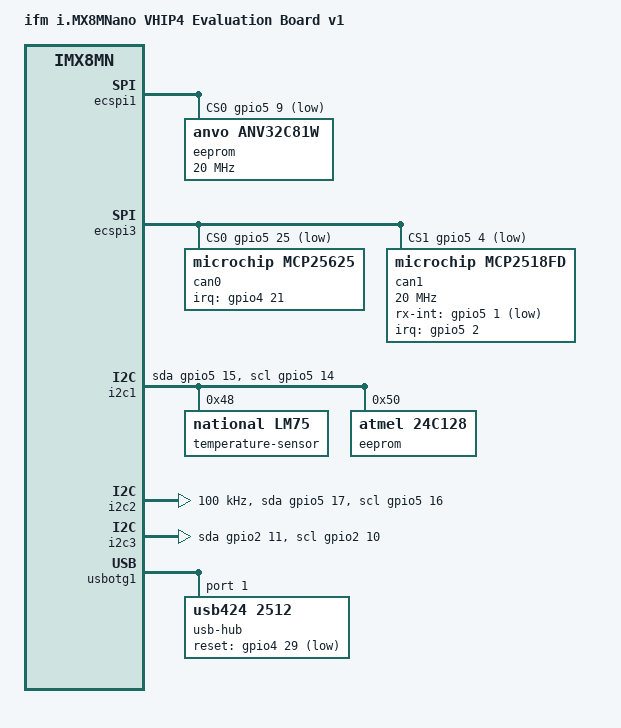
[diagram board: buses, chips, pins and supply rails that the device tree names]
// SPDX-License-Identifier: (GPL-2.0+ OR MIT)
/*
 * Copyright 2020-2024 Fedor Ross <fedor.ross@ifm.com>
 */

/dts-v1/;

#include "imx8mn-vhip4-evalboard-common.dtsi"

/ {
	model = "ifm i.MX8MNano VHIP4 Evaluation Board v1";
	compatible = "ifm,imx8mn-vhip4-evalboard-v1", "ifm,imx8mn-vhip4-evalboard",
		     "ifm,imx8mn-vhip4", "fsl,imx8mn";
};

&ifm_led {
	pinctrl-1 = <&pinctrl_gpio_led_v1>;

	led-2 {
		function = LED_FUNCTION_STATUS;
		function-enumerator = <3>;
		color = <LED_COLOR_ID_YELLOW>;
		gpios = <&gpio2 17 GPIO_ACTIVE_HIGH>;
		default-state = "keep";
	};

	led-3 {
		function = LED_FUNCTION_STATUS;
		function-enumerator = <4>;
		color = <LED_COLOR_ID_GREEN>;
		gpios = <&gpio2 19 GPIO_ACTIVE_HIGH>;
		default-state = "keep";
	};
};

&ecspi1 {
	cs-gpios = <&gpio5 9 GPIO_ACTIVE_LOW>, <&gpio5 21 GPIO_ACTIVE_LOW>;
	status = "okay";

	eeprom@0 {
		compatible = "anvo,anv32c81w", "atmel,at25";
		reg = <0>;
		spi-max-frequency = <20000000>;
		spi-cpha;
		spi-cpol;
		pagesize = <1>;
		size = <32768>;
		address-width = <16>;
	};
};

&ecspi3 {
	cs-gpios = <&gpio5 25 GPIO_ACTIVE_LOW>, <&gpio5 4 GPIO_ACTIVE_LOW>;
	status = "okay";

	can0: can@0 {
		compatible = "microchip,mcp25625";
		pinctrl-names = "default";
		pinctrl-0 = <&pinctrl_mcp25625>;
		reg = <0>;
		clocks = <&can_clk20m>;
		interrupt-parent = <&gpio4>;
		interrupts = <21 IRQ_TYPE_LEVEL_LOW>;
		gpio-controller;
		#gpio-cells = <2>;
	};

	can1: can@1 {
		compatible = "microchip,mcp2518fd";
		pinctrl-names = "default";
		pinctrl-0 = <&pinctrl_mcp2518>;
		reg = <1>;
		clocks = <&can_clk40m>;
		interrupt-parent = <&gpio5>;
		interrupts = <2 IRQ_TYPE_LEVEL_LOW>;
		microchip,rx-int-gpios = <&gpio5 1 GPIO_ACTIVE_LOW>;
		spi-max-frequency = <20000000>;
	};
};

&i2c1 {
	scl-gpios = <&gpio5 14 (GPIO_ACTIVE_HIGH | GPIO_OPEN_DRAIN)>;
	sda-gpios = <&gpio5 15 GPIO_ACTIVE_HIGH>;
	status = "okay";

	temperature-sensor@48 {
		compatible = "national,lm75";
		reg = <0x48>;
	};

	eeprom@50 {
		compatible = "atmel,24c128";
		reg = <0x50>;
	};
};

&i2c2 {
	clock-frequency = <100000>;
	pinctrl-names = "default", "gpio";
	pinctrl-0 = <&pinctrl_i2c2>;
	pinctrl-1 = <&pinctrl_i2c2_gpio>;
	scl-gpios = <&gpio5 16 (GPIO_ACTIVE_HIGH | GPIO_OPEN_DRAIN)>;
	sda-gpios = <&gpio5 17 GPIO_ACTIVE_HIGH>;
	status = "okay";
};

&i2c3 {
	scl-gpios = <&gpio2 10 (GPIO_ACTIVE_HIGH | GPIO_OPEN_DRAIN)>;
	sda-gpios = <&gpio2 11 GPIO_ACTIVE_HIGH>;
	status = "okay";
};

&ifm_pmic {
	interrupt-parent = <&gpio2>;
	interrupts = <0 GPIO_ACTIVE_LOW>;
};

&iomuxc {
	pinctrl_ecspi1_cs: ecspi1-cs-grp {
		fsl,pins = <
			/* KS8794 nCS */
			MX8MN_IOMUXC_I2C4_SDA_GPIO5_IO21		0x150
			/* ANV32C81 nCS */
			MX8MN_IOMUXC_ECSPI1_SS0_GPIO5_IO9		0x150
		>;
	};

	pinctrl_ecspi3_cs: ecspi3-cs-grp {
		fsl,pins = <
			/* MCP25625 nCS */
			MX8MN_IOMUXC_UART2_TXD_GPIO5_IO25		0x150
			/* MCP2518FD nCS */
			MX8MN_IOMUXC_SPDIF_RX_GPIO5_IO4			0x150
		>;
	};

	pinctrl_gpio_5: gpio5-grp {
		fsl,pins = <
			/* CFG_EEPROM_WP */
			MX8MN_IOMUXC_I2C4_SCL_GPIO5_IO20		0x140
		>;
	};

	pinctrl_gpio_led_v1: gpioled-v1-grp {
		fsl,pins = <
			MX8MN_IOMUXC_SD2_DATA2_GPIO2_IO17		0x116
			MX8MN_IOMUXC_SD2_RESET_B_GPIO2_IO19		0x116
		>;
	};

	pinctrl_i2c1: i2c1-grp {
		fsl,pins = <
			MX8MN_IOMUXC_I2C1_SCL_I2C1_SCL			0x40000056
			MX8MN_IOMUXC_I2C1_SDA_I2C1_SDA			0x400000d6
		>;
	};

	pinctrl_i2c1_gpio: i2c1-gpio-grp {
		fsl,pins = <
			MX8MN_IOMUXC_I2C1_SCL_GPIO5_IO14		0x56
			MX8MN_IOMUXC_I2C1_SDA_GPIO5_IO15		0xd6
		>;
	};

	pinctrl_i2c2: i2c2-grp {
		fsl,pins = <
			MX8MN_IOMUXC_I2C2_SCL_I2C2_SCL			0x40000056
			MX8MN_IOMUXC_I2C2_SDA_I2C2_SDA			0x400000d6
		>;
	};

	pinctrl_i2c2_gpio: i2c2-gpio-grp {
		fsl,pins = <
			MX8MN_IOMUXC_I2C2_SCL_GPIO5_IO16		0x56
			MX8MN_IOMUXC_I2C2_SDA_GPIO5_IO17		0xd6
		>;
	};

	pinctrl_i2c3: i2c3-grp {
		fsl,pins = <
			MX8MN_IOMUXC_SD1_RESET_B_I2C3_SCL		0x40000056
			MX8MN_IOMUXC_SD1_STROBE_I2C3_SDA		0x400000d6
		>;
	};

	pinctrl_i2c3_gpio: i2c3-gpio-grp {
		fsl,pins = <
			MX8MN_IOMUXC_SD1_RESET_B_GPIO2_IO10		0x56
			MX8MN_IOMUXC_SD1_STROBE_GPIO2_IO11		0xd6
		>;
	};

	pinctrl_mcp2518: mcp2518-grp {
		fsl,pins = <
			/* MCP2518 nINT line */
			MX8MN_IOMUXC_SAI3_MCLK_GPIO5_IO2		0x116
			/* MCP2518 nINT1/GPIO1 line */
			MX8MN_IOMUXC_SAI3_TXD_GPIO5_IO1			0x116
		>;
	};

	pinctrl_mcp25625: mcp25625-grp {
		fsl,pins = <
			/* MCP25625 nINT line */
			MX8MN_IOMUXC_SAI2_RXFS_GPIO4_IO21		0x156
		>;
	};

	pinctrl_pmic: pmic-irq-grp {
		fsl,pins = <
			MX8MN_IOMUXC_SD1_CLK_GPIO2_IO0			0x16
		>;
	};

	pinctrl_uart3: uart3-grp {
		fsl,pins = <
			MX8MN_IOMUXC_UART3_RXD_UART3_DCE_RX		0x142
			MX8MN_IOMUXC_UART3_TXD_UART3_DCE_TX		0x142
		>;
	};

	pinctrl_usb_nreset: usbnreset-grp {
		fsl,pins = <
			MX8MN_IOMUXC_SAI3_RXC_GPIO4_IO29                0x14a
		>;
	};

	pinctrl_wdog: wdog-grp {
		fsl,pins = <
			MX8MN_IOMUXC_GPIO1_IO02_WDOG1_WDOG_B		0x64
		>;
	};
};

&gpio5 {
	pinctrl-names = "default";
	pinctrl-0 = <&pinctrl_gpio_5>;
	gpio-line-names =
		"", "", "", "", "", "", "", "",
		"", "", "", "", "", "", "", "",
		"", "", "", "",
		"ifm_device_info_eeprom_wp",
		"", "", "",
		"", "", "", "", "", "", "", "";
};

&usbotg1 {
	pinctrl-names = "default";
	pinctrl-0 = <&pinctrl_usb_nreset>;
	#address-cells = <1>;
	#size-cells = <0>;

	usb-hub@1 {
		compatible = "usb424,2512", "usb424,2514";
		reg = <1>;
		reset-gpios = <&gpio4 29 GPIO_ACTIVE_LOW>;
	};
};
